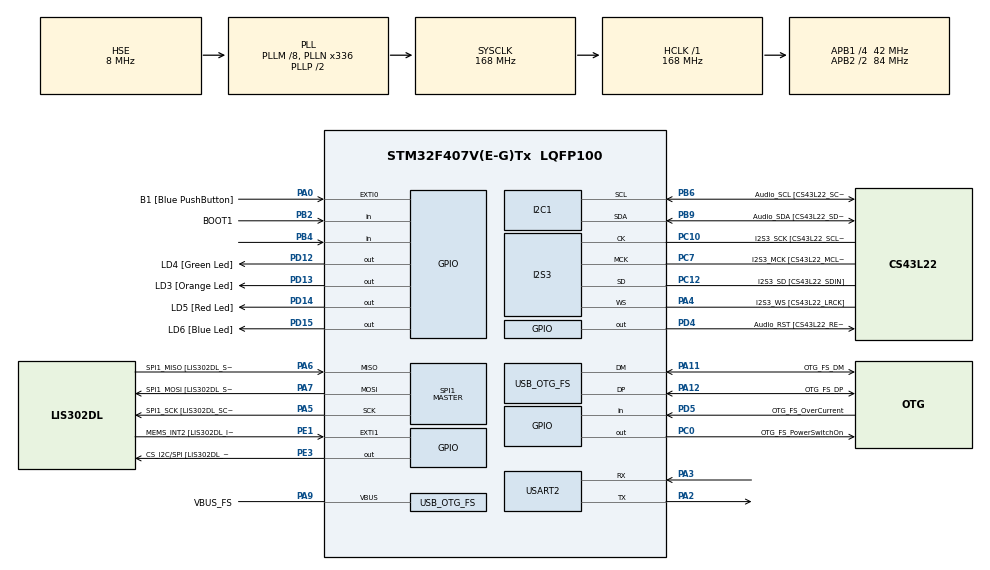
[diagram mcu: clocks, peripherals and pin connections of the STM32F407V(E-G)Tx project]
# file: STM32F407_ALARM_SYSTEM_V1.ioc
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Dma.Request0=USART2_RX
Dma.USART2_RX.0.Direction=DMA_PERIPH_TO_MEMORY
Dma.USART2_RX.0.FIFOMode=DMA_FIFOMODE_DISABLE
Dma.USART2_RX.0.Instance=DMA1_Stream5
Dma.USART2_RX.0.MemDataAlignment=DMA_MDATAALIGN_BYTE
Dma.USART2_RX.0.MemInc=DMA_MINC_ENABLE
Dma.USART2_RX.0.Mode=DMA_NORMAL
Dma.USART2_RX.0.PeriphDataAlignment=DMA_PDATAALIGN_BYTE
Dma.USART2_RX.0.PeriphInc=DMA_PINC_DISABLE
Dma.USART2_RX.0.Priority=DMA_PRIORITY_LOW
I2S3.AudioFreq-Half_Duplex_Master=I2S_AUDIOFREQ_96K
I2S3.ErrorAudioFreq=-2.34 %
I2S3.ErrorAudioFreq-Half_Duplex_Master=0.8 %
I2S3.FullDuplexMode=I2S_FULLDUPLEXMODE_DISABLE
I2S3.Instance=SPI$Index
I2S3.RealAudioFreq=93.75 KHz
I2S3.RealAudioFreq-Half_Duplex_Master=96.774 KHz
I2S3.VirtualMode=I2S_MODE_MASTER
Mcu.Family=STM32F4
Mcu.Name=STM32F407V(E-G)Tx
Mcu.Package=LQFP100
NVIC.DMA1_Stream5_IRQn=true\:0\:0\:false\:false\:true\:false\:true\:true
NVIC.OTG_FS_IRQn=true\:0\:0\:false\:false\:true\:true\:true\:true
NVIC.PriorityGroup=NVIC_PRIORITYGROUP_4
NVIC.USART2_IRQn=true\:0\:0\:false\:false\:true\:true\:true\:true
PA0-WKUP.GPIO_Label=B1 [Blue PushButton]
PA0-WKUP.GPIO_ModeDefaultEXTI=GPIO_MODE_EVT_RISING
PA0-WKUP.GPIO_PuPd=GPIO_NOPULL
PA0-WKUP.Signal=GPXTI0
PA10.GPIO_Label=OTG_FS_ID
PA10.GPIO_Mode=GPIO_MODE_AF_PP
PA10.GPIO_PuPd=GPIO_NOPULL
PA10.GPIO_Speed=GPIO_SPEED_FREQ_LOW
PA10.Signal=USB_OTG_FS_ID
PA11.GPIO_Label=OTG_FS_DM
PA11.GPIO_Mode=GPIO_MODE_AF_PP
PA11.GPIO_PuPd=GPIO_NOPULL
PA11.GPIO_Speed=GPIO_SPEED_FREQ_LOW
PA11.Mode=Host_Only
PA11.Signal=USB_OTG_FS_DM
PA12.GPIO_Label=OTG_FS_DP
PA12.GPIO_Mode=GPIO_MODE_AF_PP
PA12.GPIO_PuPd=GPIO_NOPULL
PA12.GPIO_Speed=GPIO_SPEED_FREQ_LOW
PA12.Mode=Host_Only
PA12.Signal=USB_OTG_FS_DP
PA13.GPIO_Label=SWDIO
PA13.Mode=Serial_Wire
PA13.Signal=SYS_JTMS-SWDIO
PA14.GPIO_Label=SWCLK
PA14.Mode=Serial_Wire
PA14.Signal=SYS_JTCK-SWCLK
PA2.Mode=Asynchronous
PA2.Signal=USART2_TX
PA3.Mode=Asynchronous
PA3.Signal=USART2_RX
PA4.GPIO_Label=I2S3_WS [CS43L22_LRCK]
PA4.GPIO_Mode=GPIO_MODE_AF_PP
PA4.GPIO_PuPd=GPIO_NOPULL
PA4.GPIO_Speed=GPIO_SPEED_FREQ_LOW
PA4.Mode=Half_Duplex_Master
PA4.Signal=I2S3_WS
PA5.GPIO_Label=SPI1_SCK [LIS302DL_SCL/SPC]
PA5.GPIO_Mode=GPIO_MODE_AF_PP
PA5.GPIO_PuPd=GPIO_NOPULL
PA5.GPIO_Speed=GPIO_SPEED_FREQ_LOW
PA5.Mode=Full_Duplex_Master
PA5.Signal=SPI1_SCK
PA6.GPIO_Label=SPI1_MISO [LIS302DL_SDO]
PA6.GPIO_Mode=GPIO_MODE_AF_PP
PA6.GPIO_PuPd=GPIO_NOPULL
PA6.GPIO_Speed=GPIO_SPEED_FREQ_LOW
PA6.Mode=Full_Duplex_Master
PA6.Signal=SPI1_MISO
PA7.GPIO_Label=SPI1_MOSI [LIS302DL_SDA/SDI/SDO]
PA7.GPIO_Mode=GPIO_MODE_AF_PP
PA7.GPIO_PuPd=GPIO_NOPULL
PA7.GPIO_Speed=GPIO_SPEED_FREQ_LOW
PA7.Mode=Full_Duplex_Master
PA7.Signal=SPI1_MOSI
PA9.GPIO_Label=VBUS_FS
PA9.GPIO_Mode=GPIO_MODE_INPUT
PA9.GPIO_PuPd=GPIO_NOPULL
PA9.Mode=Activate_VBUS
PA9.Signal=USB_OTG_FS_VBUS
PB10.GPIO_Label=CLK_IN [MP45DT02_CLK]
PB10.GPIO_Mode=GPIO_MODE_AF_PP
PB10.GPIO_PuPd=GPIO_NOPULL
PB10.GPIO_Speed=GPIO_SPEED_FREQ_LOW
PB10.Signal=I2S2_CK
PB2.GPIO_Label=BOOT1
PB2.GPIO_Mode=GPIO_MODE_INPUT
PB2.GPIO_PuPd=GPIO_NOPULL
PB2.Signal=GPIO_Input
PB3.GPIO_Label=SWO
PB3.Signal=SYS_JTDO-SWO
PB4.Signal=GPIO_Input
PB6.GPIO_Label=Audio_SCL [CS43L22_SCL]
PB6.GPIO_Mode=GPIO_MODE_AF_OD
PB6.GPIO_Pu=GPIO_PULLUP
PB6.GPIO_PuPd=GPIO_NOPULL
PB6.GPIO_Speed=GPIO_SPEED_FREQ_LOW
PB6.Mode=I2C
PB6.Signal=I2C1_SCL
PB9.GPIO_Label=Audio_SDA [CS43L22_SDA]
PB9.GPIO_Mode=GPIO_MODE_AF_OD
PB9.GPIO_Pu=GPIO_PULLUP
PB9.GPIO_PuPd=GPIO_NOPULL
PB9.GPIO_Speed=GPIO_SPEED_FREQ_LOW
PB9.Mode=I2C
PB9.Signal=I2C1_SDA
PC0.GPIO_Label=OTG_FS_PowerSwitchOn
PC0.GPIO_PuPd=GPIO_NOPULL
PC0.GPIO_Speed=GPIO_SPEED_FREQ_LOW
PC0.PinState=GPIO_PIN_SET
PC0.Signal=GPIO_Output
PC10.GPIO_Label=I2S3_SCK [CS43L22_SCLK]
PC10.GPIO_Mode=GPIO_MODE_AF_PP
PC10.GPIO_PuPd=GPIO_NOPULL
PC10.GPIO_Speed=GPIO_SPEED_FREQ_LOW
PC10.Mode=Half_Duplex_Master
PC10.Signal=I2S3_CK
PC12.GPIO_Label=I2S3_SD [CS43L22_SDIN]
PC12.GPIO_Mode=GPIO_MODE_AF_PP
PC12.GPIO_PuPd=GPIO_NOPULL
PC12.GPIO_Speed=GPIO_SPEED_FREQ_LOW
PC12.Mode=Half_Duplex_Master
PC12.Signal=I2S3_SD
PC14-OSC32_IN.GPIO_Label=PC14-OSC32_IN
PC14-OSC32_IN.Mode=LSE-External-Oscillator
PC14-OSC32_IN.Signal=RCC_OSC32_IN
PC15-OSC32_OUT.GPIO_Label=PC15-OSC32_OUT
PC15-OSC32_OUT.Mode=LSE-External-Oscillator
PC15-OSC32_OUT.Signal=RCC_OSC32_OUT
PC3.GPIO_Label=PDM_OUT [MP45DT02_DOUT]
PC3.GPIO_Mode=GPIO_MODE_AF_PP
PC3.GPIO_PuPd=GPIO_NOPULL
PC3.GPIO_Speed=GPIO_SPEED_FREQ_LOW
PC3.Signal=I2S2_SD
PC7.GPIO_Label=I2S3_MCK [CS43L22_MCLK]
PC7.GPIO_Mode=GPIO_MODE_AF_PP
PC7.GPIO_PuPd=GPIO_NOPULL
PC7.GPIO_Speed=GPIO_SPEED_FREQ_LOW
PC7.Mode=Master_Clock_Activated
PC7.Signal=I2S3_MCK
PD12.GPIO_Label=LD4 [Green Led]
PD12.GPIO_PuPd=GPIO_NOPULL
PD12.GPIO_Speed=GPIO_SPEED_FREQ_LOW
PD12.Signal=GPIO_Output
PD13.GPIO_Label=LD3 [Orange Led]
PD13.GPIO_PuPd=GPIO_NOPULL
PD13.GPIO_Speed=GPIO_SPEED_FREQ_LOW
PD13.Signal=GPIO_Output
PD14.GPIO_Label=LD5 [Red Led]
PD14.GPIO_PuPd=GPIO_NOPULL
PD14.GPIO_Speed=GPIO_SPEED_FREQ_LOW
PD14.Signal=GPIO_Output
PD15.GPIO_Label=LD6 [Blue Led]
PD15.GPIO_PuPd=GPIO_NOPULL
PD15.GPIO_Speed=GPIO_SPEED_FREQ_LOW
PD15.Signal=GPIO_Output
PD4.GPIO_Label=Audio_RST [CS43L22_RESET]
PD4.GPIO_PuPd=GPIO_NOPULL
PD4.GPIO_Speed=GPIO_SPEED_FREQ_LOW
PD4.Signal=GPIO_Output
PD5.GPIO_Label=OTG_FS_OverCurrent
PD5.GPIO_Mode=GPIO_MODE_INPUT
PD5.GPIO_PuPd=GPIO_NOPULL
PD5.Signal=GPIO_Input
PE1.GPIO_Label=MEMS_INT2 [LIS302DL_INT2]
PE1.GPIO_ModeDefaultEXTI=GPIO_MODE_EVT_RISING
PE1.GPIO_PuPd=GPIO_NOPULL
PE1.Signal=GPXTI1
PE3.GPIO_Label=CS_I2C/SPI [LIS302DL_CS_I2C/SPI]
PE3.GPIO_PuPd=GPIO_NOPULL
PE3.GPIO_Speed=GPIO_SPEED_FREQ_LOW
PE3.Signal=GPIO_Output
PH0-OSC_IN.GPIO_Label=PH0-OSC_IN
PH0-OSC_IN.Mode=HSE-External-Oscillator
PH0-OSC_IN.Signal=RCC_OSC_IN
PH1-OSC_OUT.GPIO_Label=PH1-OSC_OUT
PH1-OSC_OUT.Mode=HSE-External-Oscillator
PH1-OSC_OUT.Signal=RCC_OSC_OUT
ProjectManager.HeapSize=0x200
ProjectManager.StackSize=0x400
ProjectManager.TargetToolchain=STM32CubeIDE
RCC.48MHZClocksFreq_Value=48000000
RCC.AHBFreq_Value=168000000
RCC.APB1CLKDivider=RCC_HCLK_DIV4
RCC.APB1Freq_Value=42000000
RCC.APB1TimFreq_Value=84000000
RCC.APB2CLKDivider=RCC_HCLK_DIV2
RCC.APB2Freq_Value=84000000
RCC.APB2TimFreq_Value=168000000
RCC.CortexFreq_Value=168000000
RCC.HCLKFreq_Value=168000000
RCC.HSE_VALUE=8000000
RCC.HSI_VALUE=16000000
RCC.PLLM=8
RCC.PLLN=336
RCC.PLLQ=7
RCC.SYSCLKFreq_VALUE=168000000
RCC.SYSCLKSource=RCC_SYSCLKSOURCE_PLLCLK
RCC.VCOOutputFreq_Value=336000000
SPI1.BaudRatePrescaler-Full_Duplex_Master=SPI_BAUDRATEPRESCALER_2
SPI1.CalculateBaudRate-Full_Duplex_Master=42.0 MBits/s
SPI1.Direction=SPI_DIRECTION_2LINES
SPI1.Mode=SPI_MODE_MASTER
SPI1.Mode-Full_Duplex_Master=SPI_MODE_MASTER
SPI1.VirtualType=VM_MASTER
USART2.VirtualMode=VM_ASYNC
USB_HOST.BSP.number=1
USB_HOST.USBH_HandleTypeDef-CDC_FS=hUsbHostFS
USB_HOST.USBH_USE_OS-CDC_FS=0
USB_HOST.VirtualModeFS=Cdc
USB_HOST0.BSP.STBoard=false
USB_HOST0.BSP.api=Unknown
USB_HOST0.BSP.instance=PC0
USB_HOST0.BSP.ip=GPIO
USB_HOST0.BSP.mode=Output
USB_HOST0.BSP.name=Drive_VBUS_FS
USB_HOST0.BSP.solution=PC0
USB_OTG_FS.VirtualMode=Host_Only
USB_OTG_FS.phy_itface=HCD_PHY_EMBEDDED
VP_USB_HOST_VS_USB_HOST_CDC_FS.Mode=CDC_FS
board=STM32F407G-DISC1

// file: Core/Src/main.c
/* USER CODE BEGIN Header */
/**
  ******************************************************************************
  * @file           : main.c
  * @brief          : Main program body
  ******************************************************************************
  * @attention
  *
  * Copyright (c) 2023 STMicroelectronics.
  * All rights reserved.
  *
  * This software is licensed under terms that can be found in the LICENSE file
  * in the root directory of this software component.
  * If no LICENSE file comes with this software, it is provided AS-IS.
  *
  ******************************************************************************
  */
/* USER CODE END Header */
#include "main.h"
#include "usb_host.h"

I2C_HandleTypeDef hi2c1;

I2S_HandleTypeDef hi2s3;

SPI_HandleTypeDef hspi1;

UART_HandleTypeDef huart2;
DMA_HandleTypeDef hdma_usart2_rx;

void SystemClock_Config(void);
static void MX_GPIO_Init(void);
static void MX_DMA_Init(void);
static void MX_I2C1_Init(void);
static void MX_I2S3_Init(void);
static void MX_SPI1_Init(void);
static void MX_USART2_UART_Init(void);
void MX_USB_HOST_Process(void);

/* USER CODE BEGIN 0 */
int sensingComm = 0;  // START - "0000001"; STOP - "0000010"
int SensorState_1 = 0;
int SensorFlagged_1 = 0;

char RData[7];
char TData[7];

void HAL_UART_RxCpltCallback(UART_HandleTypeDef *huart)
{
	// START SENSING COMMUNICATION
	if (strcmp(RData, "0000001") == 0)
	{
		strcpy(TData, "0000001");  // VALIDATE START OF SENSING COMMUNICATION
		HAL_UART_Transmit(&huart2, (uint8_t *) TData, strlen(TData), 1000);
		sensingComm = 1;
	}
	// STOP SENSING COMMUNICAITON
	else if (strcmp(RData, "0000010") == 0)
	{
		strcpy(TData, "0000010");  // VALIDATE STOP OF SENSING COMMUNICATION
		HAL_UART_Transmit(&huart2, (uint8_t *) TData, strlen(TData), 1000);

		sensingComm = 0;
		SensorFlagged_1 = 0;
	}
	else
	{
		strcpy(TData, "0000000");  // SEND ERROR TO THE REQUEST
		HAL_UART_Transmit(&huart2, (uint8_t *) TData, strlen(TData), 1000);
	}
	HAL_UART_Receive_IT(&huart2, RData, 7);
}

/* USER CODE END 0 */

int main(void)
{

  /* MCU Configuration--------------------------------------------------------*/

  /* Reset of all peripherals, Initializes the Flash interface and the Systick. */
  HAL_Init();

  /* Configure the system clock */
  SystemClock_Config();

  /* Initialize all configured peripherals */
  MX_GPIO_Init();
  MX_DMA_Init();
  MX_I2C1_Init();
  MX_I2S3_Init();
  MX_SPI1_Init();
  MX_USB_HOST_Init();
  MX_USART2_UART_Init();
  /* USER CODE BEGIN 2 */

  //HAL_UART_Receive_IT(&huart2, RData, 1);

  HAL_UART_Receive_IT(&huart2, (uint8_t *) RData, 7);
  /* USER CODE END 2 */

  /* Infinite loop */
  while (1)
  {
    MX_USB_HOST_Process();

    /* USER CODE BEGIN 3 */
    if (sensingComm == 1)
    {
        SensorState_1 = HAL_GPIO_ReadPin(GPIOB, GPIO_PIN_4);
        if (SensorState_1 == 1 && SensorFlagged_1 == 0)
        {
    		strcpy(TData, "1111110");
        	HAL_UART_Transmit(&huart2, (uint8_t *) TData, strlen(TData), 1000);
        	SensorFlagged_1 = 1;
        }
    }
  }
  /* USER CODE END 3 */
}

void SystemClock_Config(void)
{
  RCC_OscInitTypeDef RCC_OscInitStruct = {0};
  RCC_ClkInitTypeDef RCC_ClkInitStruct = {0};

  /** Configure the main internal regulator output voltage
  */
  __HAL_RCC_PWR_CLK_ENABLE();
  __HAL_PWR_VOLTAGESCALING_CONFIG(PWR_REGULATOR_VOLTAGE_SCALE1);

  /** Initializes the RCC Oscillators according to the specified parameters
  * in the RCC_OscInitTypeDef structure.
  */
  RCC_OscInitStruct.OscillatorType = RCC_OSCILLATORTYPE_HSE;
  RCC_OscInitStruct.HSEState = RCC_HSE_ON;
  RCC_OscInitStruct.PLL.PLLState = RCC_PLL_ON;
  RCC_OscInitStruct.PLL.PLLSource = RCC_PLLSOURCE_HSE;
  RCC_OscInitStruct.PLL.PLLM = 8;
  RCC_OscInitStruct.PLL.PLLN = 336;
  RCC_OscInitStruct.PLL.PLLP = RCC_PLLP_DIV2;
  RCC_OscInitStruct.PLL.PLLQ = 7;
  if (HAL_RCC_OscConfig(&RCC_OscInitStruct) != HAL_OK)
  {
    Error_Handler();
  }

  /** Initializes the CPU, AHB and APB buses clocks
  */
  RCC_ClkInitStruct.ClockType = RCC_CLOCKTYPE_HCLK|RCC_CLOCKTYPE_SYSCLK
                              |RCC_CLOCKTYPE_PCLK1|RCC_CLOCKTYPE_PCLK2;
  RCC_ClkInitStruct.SYSCLKSource = RCC_SYSCLKSOURCE_PLLCLK;
  RCC_ClkInitStruct.AHBCLKDivider = RCC_SYSCLK_DIV1;
  RCC_ClkInitStruct.APB1CLKDivider = RCC_HCLK_DIV4;
  RCC_ClkInitStruct.APB2CLKDivider = RCC_HCLK_DIV2;

  if (HAL_RCC_ClockConfig(&RCC_ClkInitStruct, FLASH_LATENCY_5) != HAL_OK)
  {
    Error_Handler();
  }
}

static void MX_I2C1_Init(void)
{

  hi2c1.Instance = I2C1;
  hi2c1.Init.ClockSpeed = 100000;
  hi2c1.Init.DutyCycle = I2C_DUTYCYCLE_2;
  hi2c1.Init.OwnAddress1 = 0;
  hi2c1.Init.AddressingMode = I2C_ADDRESSINGMODE_7BIT;
  hi2c1.Init.DualAddressMode = I2C_DUALADDRESS_DISABLE;
  hi2c1.Init.OwnAddress2 = 0;
  hi2c1.Init.GeneralCallMode = I2C_GENERALCALL_DISABLE;
  hi2c1.Init.NoStretchMode = I2C_NOSTRETCH_DISABLE;
  if (HAL_I2C_Init(&hi2c1) != HAL_OK)
  {
    Error_Handler();
  }

}

static void MX_I2S3_Init(void)
{

  hi2s3.Instance = SPI3;
  hi2s3.Init.Mode = I2S_MODE_MASTER_TX;
  hi2s3.Init.Standard = I2S_STANDARD_PHILIPS;
  hi2s3.Init.DataFormat = I2S_DATAFORMAT_16B;
  hi2s3.Init.MCLKOutput = I2S_MCLKOUTPUT_ENABLE;
  hi2s3.Init.AudioFreq = I2S_AUDIOFREQ_96K;
  hi2s3.Init.CPOL = I2S_CPOL_LOW;
  hi2s3.Init.ClockSource = I2S_CLOCK_PLL;
  hi2s3.Init.FullDuplexMode = I2S_FULLDUPLEXMODE_DISABLE;
  if (HAL_I2S_Init(&hi2s3) != HAL_OK)
  {
    Error_Handler();
  }

}

static void MX_SPI1_Init(void)
{

  /* SPI1 parameter configuration*/
  hspi1.Instance = SPI1;
  hspi1.Init.Mode = SPI_MODE_MASTER;
  hspi1.Init.Direction = SPI_DIRECTION_2LINES;
  hspi1.Init.DataSize = SPI_DATASIZE_8BIT;
  hspi1.Init.CLKPolarity = SPI_POLARITY_LOW;
  hspi1.Init.CLKPhase = SPI_PHASE_1EDGE;
  hspi1.Init.NSS = SPI_NSS_SOFT;
  hspi1.Init.BaudRatePrescaler = SPI_BAUDRATEPRESCALER_2;
  hspi1.Init.FirstBit = SPI_FIRSTBIT_MSB;
  hspi1.Init.TIMode = SPI_TIMODE_DISABLE;
  hspi1.Init.CRCCalculation = SPI_CRCCALCULATION_DISABLE;
  hspi1.Init.CRCPolynomial = 10;
  if (HAL_SPI_Init(&hspi1) != HAL_OK)
  {
    Error_Handler();
  }

}

static void MX_USART2_UART_Init(void)
{

  huart2.Instance = USART2;
  huart2.Init.BaudRate = 115200;
  huart2.Init.WordLength = UART_WORDLENGTH_8B;
  huart2.Init.StopBits = UART_STOPBITS_1;
  huart2.Init.Parity = UART_PARITY_NONE;
  huart2.Init.Mode = UART_MODE_TX_RX;
  huart2.Init.HwFlowCtl = UART_HWCONTROL_NONE;
  huart2.Init.OverSampling = UART_OVERSAMPLING_16;
  if (HAL_UART_Init(&huart2) != HAL_OK)
  {
    Error_Handler();
  }

}

static void MX_DMA_Init(void)
{

  /* DMA controller clock enable */
  __HAL_RCC_DMA1_CLK_ENABLE();

  /* DMA interrupt init */
  /* DMA1_Stream5_IRQn interrupt configuration */
  HAL_NVIC_SetPriority(DMA1_Stream5_IRQn, 0, 0);
  HAL_NVIC_EnableIRQ(DMA1_Stream5_IRQn);

}

static void MX_GPIO_Init(void)
{
  GPIO_InitTypeDef GPIO_InitStruct = {0};

  /* GPIO Ports Clock Enable */
  __HAL_RCC_GPIOE_CLK_ENABLE();
  __HAL_RCC_GPIOC_CLK_ENABLE();
  __HAL_RCC_GPIOH_CLK_ENABLE();
  __HAL_RCC_GPIOA_CLK_ENABLE();
  __HAL_RCC_GPIOB_CLK_ENABLE();
  __HAL_RCC_GPIOD_CLK_ENABLE();

  /*Configure GPIO pin Output Level */
  HAL_GPIO_WritePin(CS_I2C_SPI_GPIO_Port, CS_I2C_SPI_Pin, GPIO_PIN_RESET);

  /*Configure GPIO pin Output Level */
  HAL_GPIO_WritePin(OTG_FS_PowerSwitchOn_GPIO_Port, OTG_FS_PowerSwitchOn_Pin, GPIO_PIN_SET);

  /*Configure GPIO pin Output Level */
  HAL_GPIO_WritePin(GPIOD, LD4_Pin|LD3_Pin|LD5_Pin|LD6_Pin
                          |Audio_RST_Pin, GPIO_PIN_RESET);

  /*Configure GPIO pin : CS_I2C_SPI_Pin */
  GPIO_InitStruct.Pin = CS_I2C_SPI_Pin;
  GPIO_InitStruct.Mode = GPIO_MODE_OUTPUT_PP;
  GPIO_InitStruct.Pull = GPIO_NOPULL;
  GPIO_InitStruct.Speed = GPIO_SPEED_FREQ_LOW;
  HAL_GPIO_Init(CS_I2C_SPI_GPIO_Port, &GPIO_InitStruct);

  /*Configure GPIO pin : OTG_FS_PowerSwitchOn_Pin */
  GPIO_InitStruct.Pin = OTG_FS_PowerSwitchOn_Pin;
  GPIO_InitStruct.Mode = GPIO_MODE_OUTPUT_PP;
  GPIO_InitStruct.Pull = GPIO_NOPULL;
  GPIO_InitStruct.Speed = GPIO_SPEED_FREQ_LOW;
  HAL_GPIO_Init(OTG_FS_PowerSwitchOn_GPIO_Port, &GPIO_InitStruct);

  /*Configure GPIO pin : PDM_OUT_Pin */
  GPIO_InitStruct.Pin = PDM_OUT_Pin;
  GPIO_InitStruct.Mode = GPIO_MODE_AF_PP;
  GPIO_InitStruct.Pull = GPIO_NOPULL;
  GPIO_InitStruct.Speed = GPIO_SPEED_FREQ_LOW;
  GPIO_InitStruct.Alternate = GPIO_AF5_SPI2;
  HAL_GPIO_Init(PDM_OUT_GPIO_Port, &GPIO_InitStruct);

  /*Configure GPIO pin : B1_Pin */
  GPIO_InitStruct.Pin = B1_Pin;
  GPIO_InitStruct.Mode = GPIO_MODE_EVT_RISING;
  GPIO_InitStruct.Pull = GPIO_NOPULL;
  HAL_GPIO_Init(B1_GPIO_Port, &GPIO_InitStruct);

  /*Configure GPIO pins : BOOT1_Pin PB4 */
  GPIO_InitStruct.Pin = BOOT1_Pin|GPIO_PIN_4;
  GPIO_InitStruct.Mode = GPIO_MODE_INPUT;
  GPIO_InitStruct.Pull = GPIO_NOPULL;
  HAL_GPIO_Init(GPIOB, &GPIO_InitStruct);

  /*Configure GPIO pin : CLK_IN_Pin */
  GPIO_InitStruct.Pin = CLK_IN_Pin;
  GPIO_InitStruct.Mode = GPIO_MODE_AF_PP;
  GPIO_InitStruct.Pull = GPIO_NOPULL;
  GPIO_InitStruct.Speed = GPIO_SPEED_FREQ_LOW;
  GPIO_InitStruct.Alternate = GPIO_AF5_SPI2;
  HAL_GPIO_Init(CLK_IN_GPIO_Port, &GPIO_InitStruct);

  /*Configure GPIO pins : LD4_Pin LD3_Pin LD5_Pin LD6_Pin
                           Audio_RST_Pin */
  GPIO_InitStruct.Pin = LD4_Pin|LD3_Pin|LD5_Pin|LD6_Pin
                          |Audio_RST_Pin;
  GPIO_InitStruct.Mode = GPIO_MODE_OUTPUT_PP;
  GPIO_InitStruct.Pull = GPIO_NOPULL;
  GPIO_InitStruct.Speed = GPIO_SPEED_FREQ_LOW;
  HAL_GPIO_Init(GPIOD, &GPIO_InitStruct);

  /*Configure GPIO pin : OTG_FS_OverCurrent_Pin */
  GPIO_InitStruct.Pin = OTG_FS_OverCurrent_Pin;
  GPIO_InitStruct.Mode = GPIO_MODE_INPUT;
  GPIO_InitStruct.Pull = GPIO_NOPULL;
  HAL_GPIO_Init(OTG_FS_OverCurrent_GPIO_Port, &GPIO_InitStruct);

  /*Configure GPIO pin : MEMS_INT2_Pin */
  GPIO_InitStruct.Pin = MEMS_INT2_Pin;
  GPIO_InitStruct.Mode = GPIO_MODE_EVT_RISING;
  GPIO_InitStruct.Pull = GPIO_NOPULL;
  HAL_GPIO_Init(MEMS_INT2_GPIO_Port, &GPIO_InitStruct);

}

void Error_Handler(void)
{
  __disable_irq();
  while (1)
  {
  }
}
